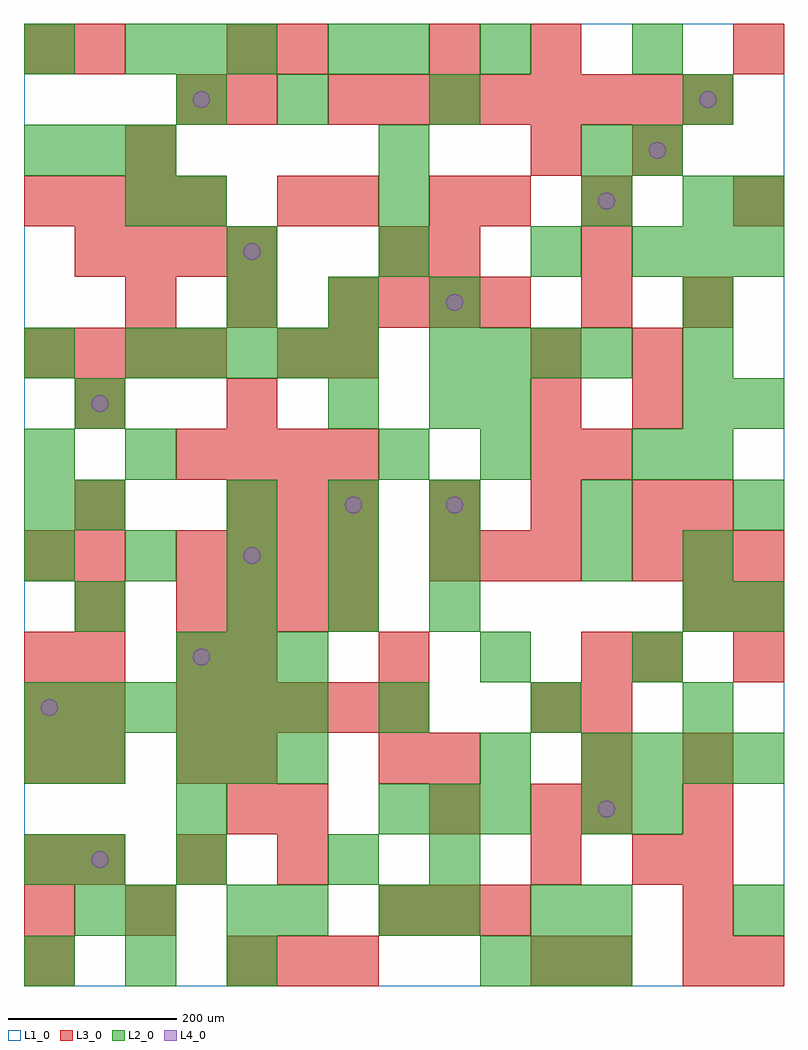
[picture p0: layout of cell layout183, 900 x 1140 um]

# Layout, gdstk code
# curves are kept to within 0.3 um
import gdstk
lib = gdstk.Library(unit=1e-6, precision=1e-09)
def R(c, l, rs):  # rectangles x0, y0, x1, y1
    for r in rs: c.add(gdstk.rectangle(r[:2], r[2:], *l))
def A(c, l, x, y, w, h, nx, ny, dx, dy):  # array of equal rectangles
    R(c, l, [(x+i*dx, y+j*dy, x+i*dx+w, y+j*dy+h) for i in range(nx) for j in range(ny)])
def P(c, l, *ps):  # polygons
    for p in ps: c.add(gdstk.Polygon(p, *l))
L1_0 = (1, 0)
L2_0 = (2, 0)
L3_0 = (3, 0)
L4_0 = (4, 0)

layout183 = lib.new_cell('layout183')
R(layout183, L1_0, [(0,0,900,1140)])
A(layout183, L2_0, 0, 0, 60, 60, 3, 1, 120, 0)
A(layout183, L2_0, 540, 0, 60, 60, 3, 1, 60, 0)
A(layout183, L2_0, 420, 180, 60, 60, 3, 1, 60, 0)
A(layout183, L2_0, 180, 240, 60, 60, 3, 2, 60, 120)
A(layout183, L2_0, 660, 240, 60, 60, 4, 1, 60, 0)
A(layout183, L2_0, 0, 300, 60, 60, 6, 1, 60, 0)
A(layout183, L2_0, 420, 300, 60, 60, 3, 1, 180, 0)
A(layout183, L2_0, 60, 420, 60, 60, 1, 3, 0, 120)
A(layout183, L2_0, 240, 420, 60, 60, 3, 2, 120, 120)
A(layout183, L2_0, 840, 420, 60, 60, 1, 3, 0, 120)
A(layout183, L2_0, 0, 480, 60, 60, 5, 1, 120, 0)
A(layout183, L2_0, 780, 600, 60, 60, 1, 4, 0, 60)
A(layout183, L2_0, 120, 720, 60, 60, 5, 1, 60, 0)
A(layout183, L2_0, 480, 720, 60, 60, 4, 1, 60, 0)
A(layout183, L2_0, 240, 780, 60, 60, 3, 1, 120, 0)
A(layout183, L2_0, 240, 840, 60, 60, 3, 1, 180, 0)
A(layout183, L2_0, 720, 840, 60, 60, 3, 1, 60, 0)
A(layout183, L2_0, 180, 900, 60, 60, 3, 1, 240, 0)
A(layout183, L2_0, 0, 960, 60, 60, 3, 1, 60, 0)
A(layout183, L2_0, 120, 1080, 60, 60, 3, 1, 60, 0)
R(layout183, L2_0, [(60,60,120,120), (120,60,180,120), (240,60,300,120), (300,60,360,120), (420,60,480,120), (480,60,540,120), (600,60,660,120), (660,60,720,120), (840,60,900,120), (0,120,60,180), (60,120,120,180), (180,120,240,180), (360,120,420,180), (480,120,540,180), (180,180,240,240), (660,180,720,240), (720,180,780,240), (0,240,60,300), (60,240,120,300), (540,240,600,300), (540,360,600,420), (720,360,780,420), (780,420,840,480), (660,480,720,540), (780,480,840,540), (0,540,60,600), (660,540,720,600), (0,600,60,660), (120,600,180,660), (420,600,480,660), (540,600,600,660), (720,600,780,660), (360,660,420,720), (480,660,540,720), (540,660,600,720), (0,720,60,780), (120,900,180,960), (780,900,840,960), (840,900,900,960), (420,960,480,1020), (660,960,720,1020), (720,960,780,1020), (180,1020,240,1080), (300,1020,360,1080), (480,1020,540,1080), (780,1020,840,1080), (0,1080,60,1140), (360,1080,420,1140), (420,1080,480,1140), (540,1080,600,1140), (720,1080,780,1140)])
A(layout183, L3_0, 0, 0, 60, 60, 1, 3, 0, 60)
A(layout183, L3_0, 240, 0, 60, 60, 3, 2, 60, 540)
A(layout183, L3_0, 780, 0, 60, 60, 1, 5, 0, 60)
A(layout183, L3_0, 420, 60, 60, 60, 3, 2, 60, 720)
A(layout183, L3_0, 60, 120, 60, 60, 3, 1, 120, 0)
A(layout183, L3_0, 660, 180, 60, 60, 1, 4, 0, 60)
A(layout183, L3_0, 0, 240, 60, 60, 1, 3, 0, 60)
A(layout183, L3_0, 60, 240, 60, 60, 1, 6, 0, 60)
A(layout183, L3_0, 180, 300, 60, 60, 5, 1, 60, 0)
A(layout183, L3_0, 180, 420, 60, 60, 4, 2, 60, 60)
A(layout183, L3_0, 480, 480, 60, 60, 3, 1, 60, 0)
A(layout183, L3_0, 720, 480, 60, 60, 3, 1, 60, 0)
A(layout183, L3_0, 480, 540, 60, 60, 3, 1, 120, 0)
A(layout183, L3_0, 180, 600, 60, 60, 4, 1, 60, 0)
A(layout183, L3_0, 600, 600, 60, 60, 1, 3, 0, 60)
A(layout183, L3_0, 0, 720, 60, 60, 4, 2, 60, 180)
A(layout183, L3_0, 300, 720, 60, 60, 1, 3, 0, 180)
A(layout183, L3_0, 120, 780, 60, 60, 3, 1, 120, 0)
A(layout183, L3_0, 660, 780, 60, 60, 1, 3, 0, 60)
A(layout183, L3_0, 60, 840, 60, 60, 4, 1, 60, 0)
A(layout183, L3_0, 360, 1020, 60, 60, 8, 1, 60, 0)
R(layout183, L3_0, [(600,0,660,60), (660,0,720,60), (840,0,900,60), (120,60,180,120), (600,120,660,180), (720,120,780,180), (240,180,300,240), (300,180,360,240), (480,180,540,240), (600,180,660,240), (180,240,240,300), (240,240,300,300), (420,240,480,300), (480,240,540,300), (600,300,660,360), (180,360,240,420), (240,360,300,420), (420,360,480,420), (720,360,780,420), (840,360,900,420), (780,420,840,480), (840,420,900,480), (0,480,60,540), (780,540,840,600), (660,600,720,660), (60,660,120,720), (240,660,300,720), (720,660,780,720), (360,720,420,780), (720,720,780,780), (780,780,840,840), (420,840,480,900), (480,840,540,900), (360,900,420,960), (480,900,540,960), (540,900,600,960), (840,900,900,960), (120,960,180,1020), (600,960,660,1020), (720,960,780,1020), (180,1020,240,1080), (240,1020,300,1080), (0,1080,60,1140), (60,1080,120,1140), (240,1080,300,1140), (480,1080,540,1140), (600,1080,660,1140), (840,1080,900,1140)])
P(layout183, L4_0, [(40,330),(39.239,333.827),(37.071,337.071),(33.827,339.239),(30,340),(26.173,339.239),(22.929,337.071),(20.761,333.827),(20,330),(20.761,326.173),(22.929,322.929),(26.173,320.761),(30,320),(33.827,320.761),(37.071,322.929),(39.239,326.173)],
  [(100,150),(99.239,153.827),(97.071,157.071),(93.827,159.239),(90,160),(86.173,159.239),(82.929,157.071),(80.761,153.827),(80,150),(80.761,146.173),(82.929,142.929),(86.173,140.761),(90,140),(93.827,140.761),(97.071,142.929),(99.239,146.173)],
  [(100,690),(99.239,693.827),(97.071,697.071),(93.827,699.239),(90,700),(86.173,699.239),(82.929,697.071),(80.761,693.827),(80,690),(80.761,686.173),(82.929,682.929),(86.173,680.761),(90,680),(93.827,680.761),(97.071,682.929),(99.239,686.173)],
  [(220,390),(219.239,393.827),(217.071,397.071),(213.827,399.239),(210,400),(206.173,399.239),(202.929,397.071),(200.761,393.827),(200,390),(200.761,386.173),(202.929,382.929),(206.173,380.761),(210,380),(213.827,380.761),(217.071,382.929),(219.239,386.173)],
  [(220,1050),(219.239,1053.827),(217.071,1057.071),(213.827,1059.239),(210,1060),(206.173,1059.239),(202.929,1057.071),(200.761,1053.827),(200,1050),(200.761,1046.173),(202.929,1042.929),(206.173,1040.761),(210,1040),(213.827,1040.761),(217.071,1042.929),(219.239,1046.173)],
  [(280,510),(279.239,513.827),(277.071,517.071),(273.827,519.239),(270,520),(266.173,519.239),(262.929,517.071),(260.761,513.827),(260,510),(260.761,506.173),(262.929,502.929),(266.173,500.761),(270,500),(273.827,500.761),(277.071,502.929),(279.239,506.173)],
  [(280,870),(279.239,873.827),(277.071,877.071),(273.827,879.239),(270,880),(266.173,879.239),(262.929,877.071),(260.761,873.827),(260,870),(260.761,866.173),(262.929,862.929),(266.173,860.761),(270,860),(273.827,860.761),(277.071,862.929),(279.239,866.173)],
  [(400,570),(399.239,573.827),(397.071,577.071),(393.827,579.239),(390,580),(386.173,579.239),(382.929,577.071),(380.761,573.827),(380,570),(380.761,566.173),(382.929,562.929),(386.173,560.761),(390,560),(393.827,560.761),(397.071,562.929),(399.239,566.173)],
  [(520,570),(519.239,573.827),(517.071,577.071),(513.827,579.239),(510,580),(506.173,579.239),(502.929,577.071),(500.761,573.827),(500,570),(500.761,566.173),(502.929,562.929),(506.173,560.761),(510,560),(513.827,560.761),(517.071,562.929),(519.239,566.173)],
  [(520,810),(519.239,813.827),(517.071,817.071),(513.827,819.239),(510,820),(506.173,819.239),(502.929,817.071),(500.761,813.827),(500,810),(500.761,806.173),(502.929,802.929),(506.173,800.761),(510,800),(513.827,800.761),(517.071,802.929),(519.239,806.173)],
  [(700,210),(699.239,213.827),(697.071,217.071),(693.827,219.239),(690,220),(686.173,219.239),(682.929,217.071),(680.761,213.827),(680,210),(680.761,206.173),(682.929,202.929),(686.173,200.761),(690,200),(693.827,200.761),(697.071,202.929),(699.239,206.173)],
  [(700,930),(699.239,933.827),(697.071,937.071),(693.827,939.239),(690,940),(686.173,939.239),(682.929,937.071),(680.761,933.827),(680,930),(680.761,926.173),(682.929,922.929),(686.173,920.761),(690,920),(693.827,920.761),(697.071,922.929),(699.239,926.173)],
  [(760,990),(759.239,993.827),(757.071,997.071),(753.827,999.239),(750,1000),(746.173,999.239),(742.929,997.071),(740.761,993.827),(740,990),(740.761,986.173),(742.929,982.929),(746.173,980.761),(750,980),(753.827,980.761),(757.071,982.929),(759.239,986.173)],
  [(820,1050),(819.239,1053.827),(817.071,1057.071),(813.827,1059.239),(810,1060),(806.173,1059.239),(802.929,1057.071),(800.761,1053.827),(800,1050),(800.761,1046.173),(802.929,1042.929),(806.173,1040.761),(810,1040),(813.827,1040.761),(817.071,1042.929),(819.239,1046.173)])

lib.write_gds('layout183.gds')
